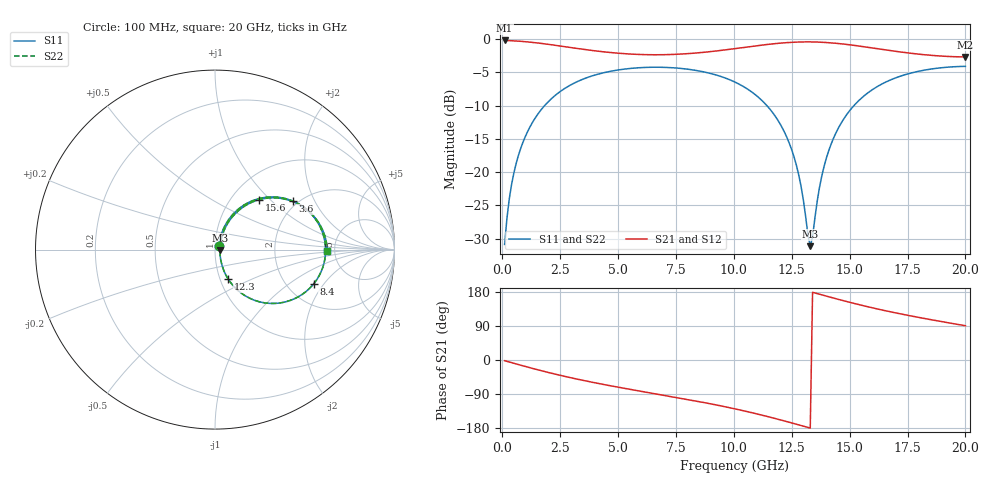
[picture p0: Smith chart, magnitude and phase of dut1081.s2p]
! Touchstone file exported from HFSS 2026.1.0
!  File:  C:/ffzhzh/LocalFiles/Ansys_Project_Files/temp_train_TSV_RDL_1081_1783300688_38820.aedt
!  Generated:  09:28:34 AM Jul  6, 2026
!  Design:  TSV_RDL
!  Project:  temp_train_TSV_RDL_1081_1783300688_38820
! Variables:
!  h_bsmrdl = 4.49um
!  h_ox = 20um
!  h_rdl = 5um
!  h_sub = 87.5um
!  h_tmrdl = 2.77um
!  h_tsv = 87.5um
!  h_via = 3um
!  l_bsmrdl = 977.29um
!  l_sub = 4481.09um
!  l_tmrdl = 256.6um
!  m_sub = 200um
!  pitch = 58.42um
!  r_tsv = 10.45um
!  s_tmrdl = 10um
!  w_bsmrdl = 16.37um
!  w_sub = 500um
!  w_tmrdl = 24.57um
!  x_tsv_center1 = 268.885um
!  x_tsv_center2 = 1262.545um
!  x_tsv_center3 = 1543.715um
!  x_tsv_center4 = 2537.375um
!  x_tsv_center5 = 2818.545um
!  x_tsv_center6 = 3812.205um
# GHz S MA R 50.000000
! Terminal data exported
! Port[1] = TM_RDL1_1_T1
! Port[2] = TM_RDL5_1_T1
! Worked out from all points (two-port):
!   200 points, 100 MHz to 20 GHz, reference 50 ohm
!   highest |S21| = -0.18 dB at 100 MHz (marker M1); lowest = -2.7 dB at 20 GHz (marker M2)
!   |S21| within 3 dB of the highest: start of sweep to end of sweep
!   lowest |S11| = -31.1 dB at 13.3 GHz (marker M3), VSWR 1.06, Z = 52.9 - j0.155 ohm
!   |S11| at or under -10 dB: start of sweep to 1.824 GHz; 11.43 GHz to 15.18 GHz (3.751 GHz wide, 28.2 % of centre)
!   |S22| runs from -31.1 to -4.1 dB; largest |S21 - S12| = 4e-15
!   S11 on the Smith chart (normalised r, x): 100 MHz: 1.04, +0.04; 3.6 GHz: 1.87, +1.37; 8.4 GHz: 2.75, -1.60; 12.3 GHz: 1.09, -0.37; 15.6 GHz: 1.34, +0.86; 20 GHz: 4.34, -0.09
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0.1  0.02864 42.4  0.9793 -1.8  0.9793 -1.8  0.02864 42.4
! Gamma 0 0 0 0
! Port Impedance 50 0 50 0
0.3  0.0627 64.3  0.9764 -5.3  0.9764 -5.3  0.0627 64.3
0.5  0.09876 67.7  0.9723 -8.8  0.9723 -8.8  0.09876 67.7
1.1  0.2033 64.2  0.9549 -18.8  0.9549 -18.8  0.2033 64.2
2.1  0.3544 51.4  0.9101 -34.6  0.9101 -34.6  0.3544 51.4
3.5  0.5022 33.3  0.8399 -53.9  0.8399 -53.9  0.5022 33.3
3.6  0.51 32.1  0.8354 -55.2  0.8354 -55.2  0.51 32.1
5.2  0.5942 14.1  0.7804 -74.0  0.7804 -74.0  0.5942 14.1
6.8  0.6157 -2.5  0.7645 -91.2  0.7645 -91.2  0.6157 -2.5
8.4  0.5816 -19.3  0.7887 -108.7  0.7887 -108.7  0.5816 -19.3
10.1  0.4716 -39.0  0.8524 -129.6  0.8524 -129.6  0.4716 -39.0
11.4  0.3207 -55.6  0.9118 -148.3  0.9118 -148.3  0.3207 -55.6
12.3  0.1813 -65.8  0.9434 -162.8  0.9434 -162.8  0.1813 -65.8
12.8  0.09581 -66.0  0.9529 -171.1  0.9529 -171.1  0.09581 -65.9
13.3  0.02779 -3.0  0.955 -179.6  0.955 -179.6  0.02789 -2.9
13.4  0.03274 29.2  0.9545 178.7  0.9545 178.7  0.03285 29.2
13.7  0.07701 61.1  0.951 173.6  0.951 173.6  0.07709 61.1
14.2  0.1625 64.2  0.9393 165.2  0.9393 165.2  0.1626 64.2
15.6  0.3722 48.4  0.8795 143.2  0.8795 143.2  0.3722 48.4
16.7  0.4888 34.7  0.8246 128.0  0.8246 128.0  0.4888 34.7
18.4  0.5927 15.7  0.7599 107.6  0.7599 107.6  0.5927 15.7
20  0.6255 -0.6  0.7361 90.4  0.7361 90.4  0.6255 -0.6
